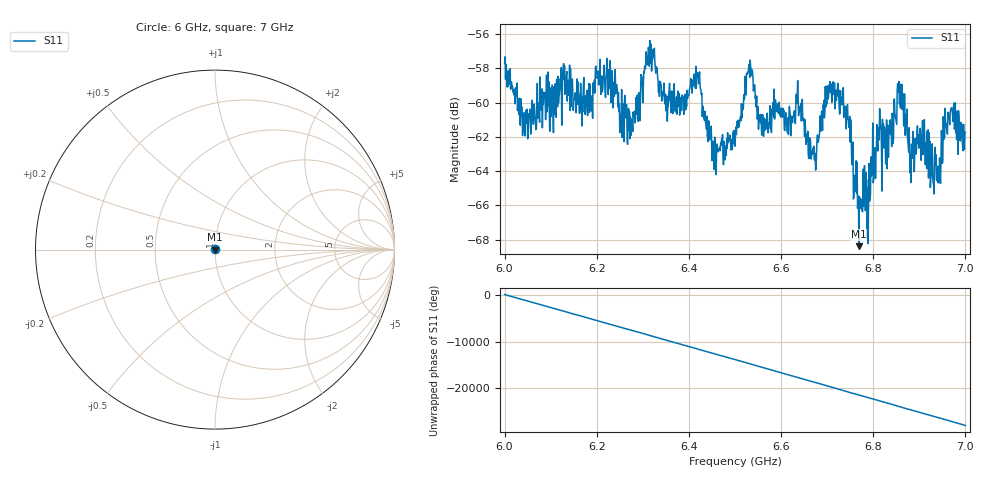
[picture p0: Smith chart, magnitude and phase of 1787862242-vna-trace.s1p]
! Created with skrf 1.10.0 (http://scikit-rf.org).
# Hz S RI R 50.0
!freq ReS11 ImS11
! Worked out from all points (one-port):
!   1001 points, 6 GHz to 7 GHz, reference 50 ohm
!   lowest |S11| = -68.4 dB at 6.769 GHz (marker M1), VSWR 1.00, Z = 50 + j0.0149 ohm
!   |S11| at or under -10 dB: start of sweep to end of sweep
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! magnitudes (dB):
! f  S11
! 6 GHz  -57.7
! 6.047 GHz  -61.2
! 6.125 GHz  -59.7
! 6.165 GHz  -58.9
! 6.225 GHz  -59.5
! 6.25 GHz  -61.8
! 6.279 GHz  -60.6
! 6.32 GHz  -57.2
! 6.35 GHz  -60.5
! 6.375 GHz  -59.7
! 6.42 GHz  -58.3
! 6.455 GHz  -63.9
! 6.5 GHz  -62.5
! 6.533 GHz  -57.5
! 6.56 GHz  -60.7
! 6.625 GHz  -61.2
! 6.638 GHz  -60.8
! 6.672 GHz  -63.3
! 6.711 GHz  -59.4
! 6.75 GHz  -62.3
! 6.769 GHz  -68.4
! 6.791 GHz  -63.6
! 6.812 GHz  -62.2
! 6.857 GHz  -60.1
! 6.875 GHz  -62.2
! 6.942 GHz  -64.1
! 6.967 GHz  -60.6
! 7 GHz  -61.7
